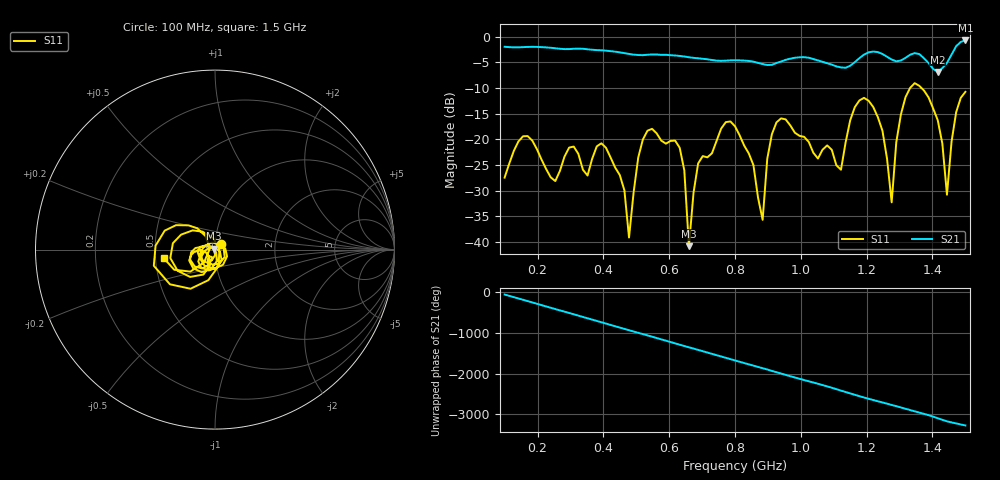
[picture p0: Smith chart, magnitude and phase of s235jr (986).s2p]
! NanoVNA-App
! Date: 2025-09-25 15:11:50
! Start: 100MHz Stop: 1,5GHz Points: 101
! S-Parameter data: F S11 S21 S12 S22
# Hz S RI R 50
!  Frequency  S11_Real  S11_Imag  S21_Real  S21_Imag  S12_Real  S12_Imag  S22_Real  S22_Imag
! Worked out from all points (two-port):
!   101 points, 100 MHz to 1.5 GHz, reference 50 ohm
!   highest |S21| = -0.74 dB at 1.5 GHz (marker M1); lowest = -6.9 dB at 1.416 GHz (marker M2)
!   |S21| within 3 dB of the highest: start of sweep to 629.8 MHz; 1.187 GHz to 1.257 GHz (70.2 MHz wide, 5.74 % of centre) (the widest 2 of 4)
!   lowest |S11| = -40.8 dB at 660 MHz (marker M3), VSWR 1.02, Z = 49.3 + j0.558 ohm
!   |S11| at or under -10 dB: start of sweep to 1.332 GHz; 1.367 GHz to end of sweep
!   S12 and S22 are empty: the file has one direction only
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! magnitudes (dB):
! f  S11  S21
! 100 MHz  -27.5  -2.0
! 156 MHz  -19.4  -2.0
! 338 MHz  -25.9  -2.4
! 408 MHz  -21.7  -2.7
! 478 MHz  -39.1  -3.4
! 520 MHz  -20.1  -3.6
! 576 MHz  -20.3  -3.5
! 632 MHz  -21.7  -3.8
! 660 MHz  -40.8  -4.0
! 688 MHz  -24.7  -4.2
! 800 MHz  -17.5  -4.6
! 884 MHz  -35.7  -5.3
! 926 MHz  -16.7  -5.1
! 1.038 GHz  -22.6  -4.4
! 1.122 GHz  -25.9  -6.0
! 1.192 GHz  -11.9  -3.5
! 1.248 GHz  -18.3  -3.4
! 1.276 GHz  -32.3  -4.5
! 1.332 GHz  -10.0  -3.5
! 1.416 GHz  -16.3  -6.9
! 1.444 GHz  -30.8  -5.1
! 1.5 GHz  -10.8  -0.7
